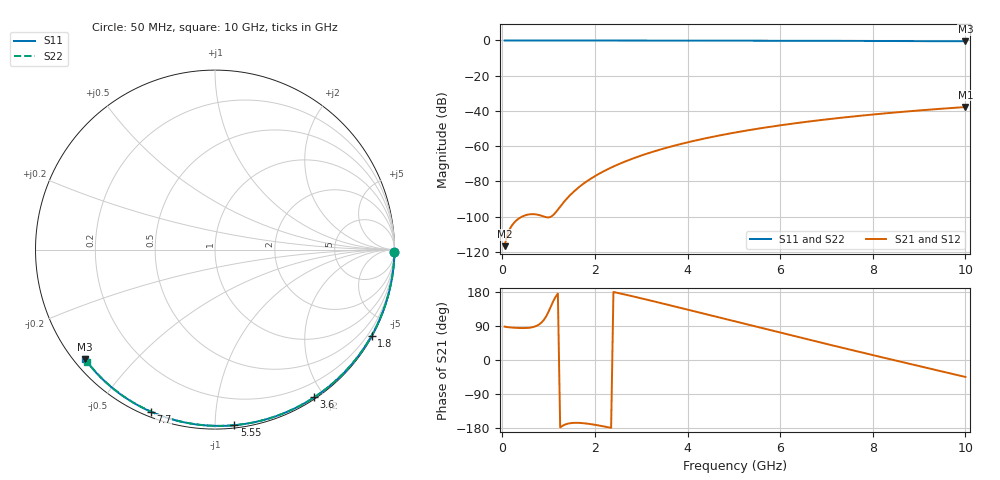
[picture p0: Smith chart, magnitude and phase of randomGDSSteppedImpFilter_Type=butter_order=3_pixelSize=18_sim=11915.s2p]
! freq	dB(S11)	phase(S11)	dB(S12)	phase(S12)
!  dB(S21)	phase(S21)	dB(S22)	phase(S22)
!S-par simulation data
#  GHz  S  DB  R 50
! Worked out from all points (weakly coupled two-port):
!   200 points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, 50 MHz to 10 GHz, reference 50 ohm
!   highest |S21| = -37.79 dB at 10 GHz (marker M1); lowest = -116.8 dB at 50 MHz (marker M2)
!   lowest |S11| = -0.5 dB at 10 GHz (marker M3), VSWR 36.90, Z = 1.53 - j18.2 ohm
!   |S11| at or under -10 dB: nowhere
!   |S22| runs from -0.5 to 0.0 dB; largest |S21 - S12| = 0
!   S11 on the Smith chart (normalised r, x): 50 MHz: open; 1.8 GHz: 0.03, -3.90; 3.6 GHz: 0.02, -1.88; 5.55 GHz: 0.02, -1.12; 7.7 GHz: 0.02, -0.68; 10 GHz: 0.03, -0.36
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0.05  -0.00 -0.8  -116.76 88.2  -116.76 88.2  -0.00 -0.8
0.45  -0.01 -7.3  -99.69 84.2  -99.69 84.2  -0.01 -7.2
0.9  -0.02 -14.5  -99.98 106.3  -99.98 106.3  -0.02 -14.4
1.75  -0.04 -28.0  -81.34 -166.8  -81.34 -166.8  -0.04 -27.7
1.8  -0.04 -28.8  -80.40 -167.4  -80.40 -167.4  -0.04 -28.4
1.85  -0.04 -29.5  -79.50 -168.2  -79.50 -168.2  -0.04 -29.2
2.05  -0.04 -32.7  -76.25 -172.0  -76.25 -172.0  -0.04 -32.3
2.2  -0.04 -35.0  -74.11 -175.4  -74.11 -175.4  -0.04 -34.6
2.55  -0.05 -40.4  -69.81 175.5  -69.81 175.5  -0.05 -39.9
2.95  -0.06 -46.4  -65.77 164.2  -65.77 164.2  -0.06 -46.0
3.4  -0.07 -53.2  -62.00 151.0  -62.00 151.0  -0.07 -52.6
3.6  -0.08 -56.1  -60.51 145.0  -60.51 145.0  -0.07 -55.6
3.9  -0.08 -60.5  -58.47 136.0  -58.47 136.0  -0.08 -59.9
4.3  -0.09 -66.3  -56.03 123.8  -56.03 123.8  -0.09 -65.6
5.05  -0.12 -76.9  -52.15 101.0  -52.15 101.0  -0.12 -76.1
5.55  -0.14 -83.7  -49.95 85.9  -49.95 85.9  -0.14 -82.9
6.1  -0.16 -91.1  -47.80 69.3  -47.80 69.3  -0.16 -90.2
6.7  -0.19 -98.9  -45.74 51.3  -45.74 51.3  -0.19 -98.0
7.7  -0.25 -111.7  -42.81 21.7  -42.81 21.7  -0.25 -110.6
8.35  -0.31 -119.8  -41.18 2.8  -41.18 2.8  -0.30 -118.7
9.2  -0.38 -130.2  -39.31 -21.8  -39.31 -21.8  -0.38 -129.0
10  -0.47 -140.0  -37.79 -44.7  -37.79 -44.7  -0.47 -138.7
